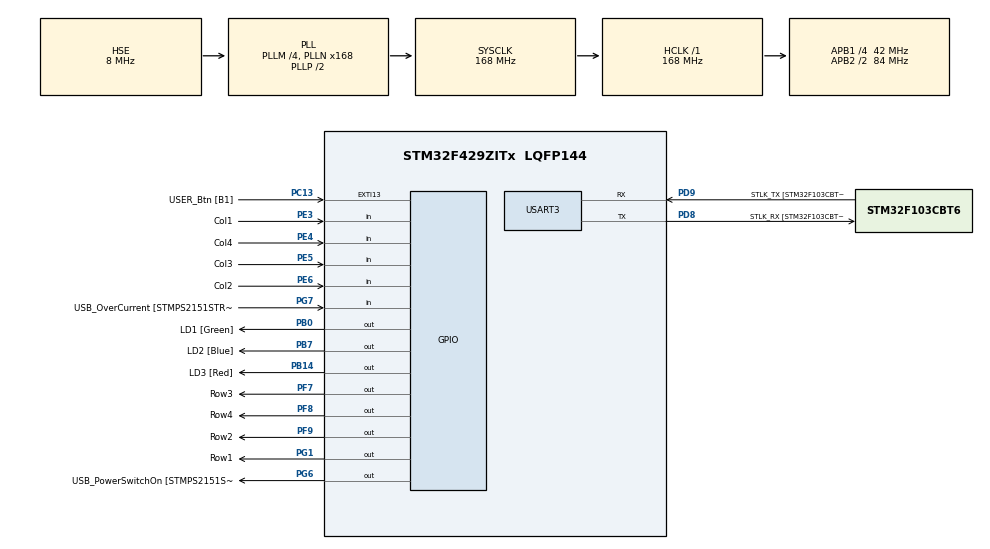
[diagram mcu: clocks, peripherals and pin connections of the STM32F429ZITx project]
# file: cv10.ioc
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Mcu.Family=STM32F4
Mcu.Name=STM32F429ZITx
Mcu.Package=LQFP144
NVIC.PriorityGroup=NVIC_PRIORITYGROUP_4
NVIC.TIM3_IRQn=true\:0\:0\:false\:false\:true\:true\:true\:true
PA1.GPIO_Label=RMII_REF_CLK [LAN8742A-CZ-TR_REFCLK0]
PA1.Signal=ETH_REF_CLK
PA10.GPIO_Label=USB_ID
PA10.Signal=USB_OTG_FS_ID
PA11.GPIO_Label=USB_DM
PA11.Signal=USB_OTG_FS_DM
PA12.GPIO_Label=USB_DP
PA12.Signal=USB_OTG_FS_DP
PA13.GPIO_Label=TMS
PA13.Mode=Serial_Wire
PA13.Signal=SYS_JTMS-SWDIO
PA14.GPIO_Label=TCK
PA14.Mode=Serial_Wire
PA14.Signal=SYS_JTCK-SWCLK
PA2.GPIO_Label=RMII_MDIO [LAN8742A-CZ-TR_MDIO]
PA2.Signal=ETH_MDIO
PA7.GPIO_Label=RMII_CRS_DV [LAN8742A-CZ-TR_CRS_DV]
PA7.Signal=ETH_CRS_DV
PA8.GPIO_Label=USB_SOF [TP1]
PA8.Signal=USB_OTG_FS_SOF
PA9.GPIO_Label=USB_VBUS
PA9.Signal=USB_OTG_FS_VBUS
PB0.GPIO_Label=LD1 [Green]
PB0.Signal=GPIO_Output
PB13.GPIO_Label=RMII_TXD1 [LAN8742A-CZ-TR_TXD1]
PB13.Signal=ETH_TXD1
PB14.GPIO_Label=LD3 [Red]
PB14.Signal=GPIO_Output
PB7.GPIO_Label=LD2 [Blue]
PB7.Signal=GPIO_Output
PC1.GPIO_Label=RMII_MDC [LAN8742A-CZ-TR_MDC]
PC1.Signal=ETH_MDC
PC13.GPIO_Label=USER_Btn [B1]
PC13.Signal=GPXTI13
PC14/OSC32_IN.Mode=LSE-External-Oscillator
PC14/OSC32_IN.Signal=RCC_OSC32_IN
PC15/OSC32_OUT.Mode=LSE-External-Oscillator
PC15/OSC32_OUT.Signal=RCC_OSC32_OUT
PC4.GPIO_Label=RMII_RXD0 [LAN8742A-CZ-TR_RXD0]
PC4.Signal=ETH_RXD0
PC5.GPIO_Label=RMII_RXD1 [LAN8742A-CZ-TR_RXD1]
PC5.Signal=ETH_RXD1
PD8.GPIO_Label=STLK_RX [STM32F103CBT6_PA3]
PD8.Mode=Asynchronous
PD8.Signal=USART3_TX
PD9.GPIO_Label=STLK_TX [STM32F103CBT6_PA2]
PD9.Mode=Asynchronous
PD9.Signal=USART3_RX
PE3.GPIO_Label=Col1
PE3.GPIO_PuPd=GPIO_PULLUP
PE3.Signal=GPIO_Input
PE4.GPIO_Label=Col4
PE4.GPIO_PuPd=GPIO_PULLUP
PE4.Signal=GPIO_Input
PE5.GPIO_Label=Col3
PE5.GPIO_PuPd=GPIO_PULLUP
PE5.Signal=GPIO_Input
PE6.GPIO_Label=Col2
PE6.GPIO_PuPd=GPIO_PULLUP
PE6.Signal=GPIO_Input
PF7.GPIO_Label=Row3
PF7.GPIO_ModeDefaultOutputPP=GPIO_MODE_OUTPUT_OD
PF7.GPIO_PuPd=GPIO_NOPULL
PF7.Signal=GPIO_Output
PF8.GPIO_Label=Row4
PF8.GPIO_ModeDefaultOutputPP=GPIO_MODE_OUTPUT_OD
PF8.GPIO_PuPd=GPIO_NOPULL
PF8.Signal=GPIO_Output
PF9.GPIO_Label=Row2
PF9.GPIO_ModeDefaultOutputPP=GPIO_MODE_OUTPUT_OD
PF9.GPIO_PuPd=GPIO_NOPULL
PF9.Signal=GPIO_Output
PG1.GPIO_Label=Row1
PG1.GPIO_ModeDefaultOutputPP=GPIO_MODE_OUTPUT_OD
PG1.GPIO_PuPd=GPIO_NOPULL
PG1.Signal=GPIO_Output
PG11.GPIO_Label=RMII_TX_EN [LAN8742A-CZ-TR_TXEN]
PG11.Signal=ETH_TX_EN
PG13.GPIO_Label=RMII_TXD0 [LAN8742A-CZ-TR_TXD0]
PG13.Signal=ETH_TXD0
PG6.GPIO_Label=USB_PowerSwitchOn [STMPS2151STR_EN]
PG6.Signal=GPIO_Output
PG7.GPIO_Label=USB_OverCurrent [STMPS2151STR_FAULT]
PG7.Signal=GPIO_Input
PH0/OSC_IN.GPIO_Label=MCO [STM32F103CBT6_PA8]
PH0/OSC_IN.Mode=HSE-External-Clock-Source
PH0/OSC_IN.Signal=RCC_OSC_IN
PH1/OSC_OUT.Mode=HSE-External-Clock-Source
PH1/OSC_OUT.Signal=RCC_OSC_OUT
ProjectManager.HeapSize=0x200
ProjectManager.StackSize=0x400
ProjectManager.TargetToolchain=STM32CubeIDE
RCC.48MHZClocksFreq_Value=48000000
RCC.AHBFreq_Value=168000000
RCC.APB1CLKDivider=RCC_HCLK_DIV4
RCC.APB1Freq_Value=42000000
RCC.APB1TimFreq_Value=84000000
RCC.APB2CLKDivider=RCC_HCLK_DIV2
RCC.APB2Freq_Value=84000000
RCC.APB2TimCLKDivider=2
RCC.APB2TimFreq_Value=168000000
RCC.CortexFreq_Value=168000000
RCC.HCLKFreq_Value=168000000
RCC.HSE_VALUE=8000000
RCC.HSI_VALUE=16000000
RCC.PLLM=4
RCC.PLLMUL=RCC_PLL_MUL9
RCC.PLLN=168
RCC.PLLQ=7
RCC.PLLSourceVirtual=RCC_PLLSOURCE_HSE
RCC.PRESCALERUSB=RCC_USBCLKSOURCE_PLL_DIV1_5
RCC.SYSCLKFreq_VALUE=168000000
RCC.SYSCLKSource=RCC_SYSCLKSOURCE_PLLCLK
RCC.SYSCLKSourceVirtual=RCC_SYSCLKSOURCE_PLLCLK
RCC.USBFreq_Value=48000000
RCC.VCOOutputFreq_Value=336000000
TIM3.AutoReloadPreload=TIM_AUTORELOAD_PRELOAD_ENABLE
TIM3.Period=99
TIM3.Prescaler=8399
USART3.VirtualMode=VM_ASYNC
VP_TIM3_VS_ClockSourceINT.Mode=Internal
board=NUCLEO-F429ZI

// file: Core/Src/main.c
/* USER CODE BEGIN Header */
/**
  ******************************************************************************
  * @file           : main.c
  * @brief          : Main program body
  ******************************************************************************
  * @attention
  *
  * Copyright (c) 2023 STMicroelectronics.
  * All rights reserved.
  *
  * This software is licensed under terms that can be found in the LICENSE file
  * in the root directory of this software component.
  * If no LICENSE file comes with this software, it is provided AS-IS.
  *
  ******************************************************************************
  */
/* USER CODE END Header */
#include "main.h"
/* USER CODE BEGIN Includes */
#include <stdio.h>
/* USER CODE END Includes */

TIM_HandleTypeDef htim3;

UART_HandleTypeDef huart3;

/* USER CODE BEGIN PV */
static volatile int8_t key = -1;
/* USER CODE END PV */

void SystemClock_Config(void);
static void MX_GPIO_Init(void);
static void MX_USART3_UART_Init(void);
static void MX_TIM3_Init(void);

/* USER CODE BEGIN 0 */
int __io_putchar(int ch) {
	ITM_SendChar(ch);
	return 0;
}
/* USER CODE END 0 */

int main(void)
{

  /* MCU Configuration--------------------------------------------------------*/

  /* Reset of all peripherals, Initializes the Flash interface and the Systick. */
  HAL_Init();

  /* Configure the system clock */
  SystemClock_Config();

  /* Initialize all configured peripherals */
  MX_GPIO_Init();
  MX_USART3_UART_Init();
  MX_TIM3_Init();
  /* USER CODE BEGIN 2 */

  HAL_TIM_Base_Start_IT(&htim3);
  static const int8_t code[] = {7, 9, 3, 2, 12};
  uint8_t pos = 0;

  /* USER CODE END 2 */

  /* Infinite loop */
  /* USER CODE BEGIN WHILE */
  while (1)
  {
	  if (key != -1) {
			printf("pressed: %2d, ", key);

			if (key == code[pos]) {
				pos++;
				printf("pos = %d \n", pos);

				if(pos == sizeof(code)) {
					HAL_GPIO_TogglePin(LD1_GPIO_Port, LD1_Pin);
					pos = 0;
					printf("CORRECT CODE \n");
				}
			}
			else {
				pos = 0;
				printf("pos = %d\n", pos);
			}
			HAL_Delay(250);
			key = -1;
	}

    /* USER CODE END WHILE */

    /* USER CODE BEGIN 3 */
	  // HAL_GPIO_TogglePin(LD1_GPIO_Port, LD1_Pin);
	  // HAL_Delay(250);
  }
  /* USER CODE END 3 */
}

void SystemClock_Config(void)
{
  RCC_OscInitTypeDef RCC_OscInitStruct = {0};
  RCC_ClkInitTypeDef RCC_ClkInitStruct = {0};

  /** Configure the main internal regulator output voltage
  */
  __HAL_RCC_PWR_CLK_ENABLE();
  __HAL_PWR_VOLTAGESCALING_CONFIG(PWR_REGULATOR_VOLTAGE_SCALE1);

  /** Initializes the RCC Oscillators according to the specified parameters
  * in the RCC_OscInitTypeDef structure.
  */
  RCC_OscInitStruct.OscillatorType = RCC_OSCILLATORTYPE_HSE;
  RCC_OscInitStruct.HSEState = RCC_HSE_BYPASS;
  RCC_OscInitStruct.PLL.PLLState = RCC_PLL_ON;
  RCC_OscInitStruct.PLL.PLLSource = RCC_PLLSOURCE_HSE;
  RCC_OscInitStruct.PLL.PLLM = 4;
  RCC_OscInitStruct.PLL.PLLN = 168;
  RCC_OscInitStruct.PLL.PLLP = RCC_PLLP_DIV2;
  RCC_OscInitStruct.PLL.PLLQ = 7;
  if (HAL_RCC_OscConfig(&RCC_OscInitStruct) != HAL_OK)
  {
    Error_Handler();
  }

  /** Initializes the CPU, AHB and APB buses clocks
  */
  RCC_ClkInitStruct.ClockType = RCC_CLOCKTYPE_HCLK|RCC_CLOCKTYPE_SYSCLK
                              |RCC_CLOCKTYPE_PCLK1|RCC_CLOCKTYPE_PCLK2;
  RCC_ClkInitStruct.SYSCLKSource = RCC_SYSCLKSOURCE_PLLCLK;
  RCC_ClkInitStruct.AHBCLKDivider = RCC_SYSCLK_DIV1;
  RCC_ClkInitStruct.APB1CLKDivider = RCC_HCLK_DIV4;
  RCC_ClkInitStruct.APB2CLKDivider = RCC_HCLK_DIV2;

  if (HAL_RCC_ClockConfig(&RCC_ClkInitStruct, FLASH_LATENCY_5) != HAL_OK)
  {
    Error_Handler();
  }
}

static void MX_TIM3_Init(void)
{

  TIM_ClockConfigTypeDef sClockSourceConfig = {0};
  TIM_MasterConfigTypeDef sMasterConfig = {0};

  htim3.Instance = TIM3;
  htim3.Init.Prescaler = 8399;
  htim3.Init.CounterMode = TIM_COUNTERMODE_UP;
  htim3.Init.Period = 99;
  htim3.Init.ClockDivision = TIM_CLOCKDIVISION_DIV1;
  htim3.Init.AutoReloadPreload = TIM_AUTORELOAD_PRELOAD_ENABLE;
  if (HAL_TIM_Base_Init(&htim3) != HAL_OK)
  {
    Error_Handler();
  }
  sClockSourceConfig.ClockSource = TIM_CLOCKSOURCE_INTERNAL;
  if (HAL_TIM_ConfigClockSource(&htim3, &sClockSourceConfig) != HAL_OK)
  {
    Error_Handler();
  }
  sMasterConfig.MasterOutputTrigger = TIM_TRGO_RESET;
  sMasterConfig.MasterSlaveMode = TIM_MASTERSLAVEMODE_DISABLE;
  if (HAL_TIMEx_MasterConfigSynchronization(&htim3, &sMasterConfig) != HAL_OK)
  {
    Error_Handler();
  }

}

static void MX_USART3_UART_Init(void)
{

  huart3.Instance = USART3;
  huart3.Init.BaudRate = 115200;
  huart3.Init.WordLength = UART_WORDLENGTH_8B;
  huart3.Init.StopBits = UART_STOPBITS_1;
  huart3.Init.Parity = UART_PARITY_NONE;
  huart3.Init.Mode = UART_MODE_TX_RX;
  huart3.Init.HwFlowCtl = UART_HWCONTROL_NONE;
  huart3.Init.OverSampling = UART_OVERSAMPLING_16;
  if (HAL_UART_Init(&huart3) != HAL_OK)
  {
    Error_Handler();
  }

}

static void MX_GPIO_Init(void)
{
  GPIO_InitTypeDef GPIO_InitStruct = {0};

  /* GPIO Ports Clock Enable */
  __HAL_RCC_GPIOE_CLK_ENABLE();
  __HAL_RCC_GPIOC_CLK_ENABLE();
  __HAL_RCC_GPIOF_CLK_ENABLE();
  __HAL_RCC_GPIOH_CLK_ENABLE();
  __HAL_RCC_GPIOA_CLK_ENABLE();
  __HAL_RCC_GPIOB_CLK_ENABLE();
  __HAL_RCC_GPIOG_CLK_ENABLE();
  __HAL_RCC_GPIOD_CLK_ENABLE();

  /*Configure GPIO pin Output Level */
  HAL_GPIO_WritePin(GPIOF, Row3_Pin|Row4_Pin|Row2_Pin, GPIO_PIN_RESET);

  /*Configure GPIO pin Output Level */
  HAL_GPIO_WritePin(GPIOB, LD1_Pin|LD3_Pin|LD2_Pin, GPIO_PIN_RESET);

  /*Configure GPIO pin Output Level */
  HAL_GPIO_WritePin(GPIOG, Row1_Pin|USB_PowerSwitchOn_Pin, GPIO_PIN_RESET);

  /*Configure GPIO pins : Col1_Pin Col4_Pin Col3_Pin Col2_Pin */
  GPIO_InitStruct.Pin = Col1_Pin|Col4_Pin|Col3_Pin|Col2_Pin;
  GPIO_InitStruct.Mode = GPIO_MODE_INPUT;
  GPIO_InitStruct.Pull = GPIO_PULLUP;
  HAL_GPIO_Init(GPIOE, &GPIO_InitStruct);

  /*Configure GPIO pin : USER_Btn_Pin */
  GPIO_InitStruct.Pin = USER_Btn_Pin;
  GPIO_InitStruct.Mode = GPIO_MODE_IT_RISING;
  GPIO_InitStruct.Pull = GPIO_NOPULL;
  HAL_GPIO_Init(USER_Btn_GPIO_Port, &GPIO_InitStruct);

  /*Configure GPIO pins : Row3_Pin Row4_Pin Row2_Pin */
  GPIO_InitStruct.Pin = Row3_Pin|Row4_Pin|Row2_Pin;
  GPIO_InitStruct.Mode = GPIO_MODE_OUTPUT_OD;
  GPIO_InitStruct.Pull = GPIO_NOPULL;
  GPIO_InitStruct.Speed = GPIO_SPEED_FREQ_LOW;
  HAL_GPIO_Init(GPIOF, &GPIO_InitStruct);

  /*Configure GPIO pins : RMII_MDC_Pin RMII_RXD0_Pin RMII_RXD1_Pin */
  GPIO_InitStruct.Pin = RMII_MDC_Pin|RMII_RXD0_Pin|RMII_RXD1_Pin;
  GPIO_InitStruct.Mode = GPIO_MODE_AF_PP;
  GPIO_InitStruct.Pull = GPIO_NOPULL;
  GPIO_InitStruct.Speed = GPIO_SPEED_FREQ_VERY_HIGH;
  GPIO_InitStruct.Alternate = GPIO_AF11_ETH;
  HAL_GPIO_Init(GPIOC, &GPIO_InitStruct);

  /*Configure GPIO pins : RMII_REF_CLK_Pin RMII_MDIO_Pin RMII_CRS_DV_Pin */
  GPIO_InitStruct.Pin = RMII_REF_CLK_Pin|RMII_MDIO_Pin|RMII_CRS_DV_Pin;
  GPIO_InitStruct.Mode = GPIO_MODE_AF_PP;
  GPIO_InitStruct.Pull = GPIO_NOPULL;
  GPIO_InitStruct.Speed = GPIO_SPEED_FREQ_VERY_HIGH;
  GPIO_InitStruct.Alternate = GPIO_AF11_ETH;
  HAL_GPIO_Init(GPIOA, &GPIO_InitStruct);

  /*Configure GPIO pins : LD1_Pin LD3_Pin LD2_Pin */
  GPIO_InitStruct.Pin = LD1_Pin|LD3_Pin|LD2_Pin;
  GPIO_InitStruct.Mode = GPIO_MODE_OUTPUT_PP;
  GPIO_InitStruct.Pull = GPIO_NOPULL;
  GPIO_InitStruct.Speed = GPIO_SPEED_FREQ_LOW;
  HAL_GPIO_Init(GPIOB, &GPIO_InitStruct);

  /*Configure GPIO pin : Row1_Pin */
  GPIO_InitStruct.Pin = Row1_Pin;
  GPIO_InitStruct.Mode = GPIO_MODE_OUTPUT_OD;
  GPIO_InitStruct.Pull = GPIO_NOPULL;
  GPIO_InitStruct.Speed = GPIO_SPEED_FREQ_LOW;
  HAL_GPIO_Init(Row1_GPIO_Port, &GPIO_InitStruct);

  /*Configure GPIO pin : RMII_TXD1_Pin */
  GPIO_InitStruct.Pin = RMII_TXD1_Pin;
  GPIO_InitStruct.Mode = GPIO_MODE_AF_PP;
  GPIO_InitStruct.Pull = GPIO_NOPULL;
  GPIO_InitStruct.Speed = GPIO_SPEED_FREQ_VERY_HIGH;
  GPIO_InitStruct.Alternate = GPIO_AF11_ETH;
  HAL_GPIO_Init(RMII_TXD1_GPIO_Port, &GPIO_InitStruct);

  /*Configure GPIO pin : USB_PowerSwitchOn_Pin */
  GPIO_InitStruct.Pin = USB_PowerSwitchOn_Pin;
  GPIO_InitStruct.Mode = GPIO_MODE_OUTPUT_PP;
  GPIO_InitStruct.Pull = GPIO_NOPULL;
  GPIO_InitStruct.Speed = GPIO_SPEED_FREQ_LOW;
  HAL_GPIO_Init(USB_PowerSwitchOn_GPIO_Port, &GPIO_InitStruct);

  /*Configure GPIO pin : USB_OverCurrent_Pin */
  GPIO_InitStruct.Pin = USB_OverCurrent_Pin;
  GPIO_InitStruct.Mode = GPIO_MODE_INPUT;
  GPIO_InitStruct.Pull = GPIO_NOPULL;
  HAL_GPIO_Init(USB_OverCurrent_GPIO_Port, &GPIO_InitStruct);

  /*Configure GPIO pins : USB_SOF_Pin USB_ID_Pin USB_DM_Pin USB_DP_Pin */
  GPIO_InitStruct.Pin = USB_SOF_Pin|USB_ID_Pin|USB_DM_Pin|USB_DP_Pin;
  GPIO_InitStruct.Mode = GPIO_MODE_AF_PP;
  GPIO_InitStruct.Pull = GPIO_NOPULL;
  GPIO_InitStruct.Speed = GPIO_SPEED_FREQ_VERY_HIGH;
  GPIO_InitStruct.Alternate = GPIO_AF10_OTG_FS;
  HAL_GPIO_Init(GPIOA, &GPIO_InitStruct);

  /*Configure GPIO pin : USB_VBUS_Pin */
  GPIO_InitStruct.Pin = USB_VBUS_Pin;
  GPIO_InitStruct.Mode = GPIO_MODE_INPUT;
  GPIO_InitStruct.Pull = GPIO_NOPULL;
  HAL_GPIO_Init(USB_VBUS_GPIO_Port, &GPIO_InitStruct);

  /*Configure GPIO pins : RMII_TX_EN_Pin RMII_TXD0_Pin */
  GPIO_InitStruct.Pin = RMII_TX_EN_Pin|RMII_TXD0_Pin;
  GPIO_InitStruct.Mode = GPIO_MODE_AF_PP;
  GPIO_InitStruct.Pull = GPIO_NOPULL;
  GPIO_InitStruct.Speed = GPIO_SPEED_FREQ_VERY_HIGH;
  GPIO_InitStruct.Alternate = GPIO_AF11_ETH;
  HAL_GPIO_Init(GPIOG, &GPIO_InitStruct);

}

/* USER CODE BEGIN 4 */
void HAL_TIM_PeriodElapsedCallback(TIM_HandleTypeDef *htim)
{
 static int row = 0;
 static const int keyboard[4][4] = {
 { 1, 2, 3, 21 },
 { 4, 5, 6, 22 },
 { 7, 8, 9, 23 },
 { 11, 0, 12, 24 },
 };
 if (key == -1) {
 if (HAL_GPIO_ReadPin(Col1_GPIO_Port, Col1_Pin) == GPIO_PIN_RESET) key = keyboard[row][0];
 if (HAL_GPIO_ReadPin(Col2_GPIO_Port, Col2_Pin) == GPIO_PIN_RESET) key = keyboard[row][1];
 if (HAL_GPIO_ReadPin(Col3_GPIO_Port, Col3_Pin) == GPIO_PIN_RESET) key = keyboard[row][2];
 if (HAL_GPIO_ReadPin(Col4_GPIO_Port, Col4_Pin) == GPIO_PIN_RESET) key = keyboard[row][3];
 // ... atd ...
 }
 HAL_GPIO_WritePin(Row1_GPIO_Port, Row1_Pin, GPIO_PIN_SET);
 HAL_GPIO_WritePin(Row2_GPIO_Port, Row2_Pin, GPIO_PIN_SET);
 HAL_GPIO_WritePin(Row3_GPIO_Port, Row3_Pin, GPIO_PIN_SET);
 HAL_GPIO_WritePin(Row4_GPIO_Port, Row4_Pin, GPIO_PIN_SET);
 switch (row) {
 case 0: row = 1; HAL_GPIO_WritePin(Row2_GPIO_Port, Row2_Pin, GPIO_PIN_RESET); break;
 case 1: row = 2; HAL_GPIO_WritePin(Row3_GPIO_Port, Row3_Pin, GPIO_PIN_RESET); break;
 case 2: row = 3; HAL_GPIO_WritePin(Row4_GPIO_Port, Row4_Pin, GPIO_PIN_RESET); break;
 case 3: row = 0; HAL_GPIO_WritePin(Row1_GPIO_Port, Row1_Pin, GPIO_PIN_RESET); break;
 // ... atd ...
 }
}
/* USER CODE END 4 */

void Error_Handler(void)
{
  __disable_irq();
  while (1)
  {
  }
}
